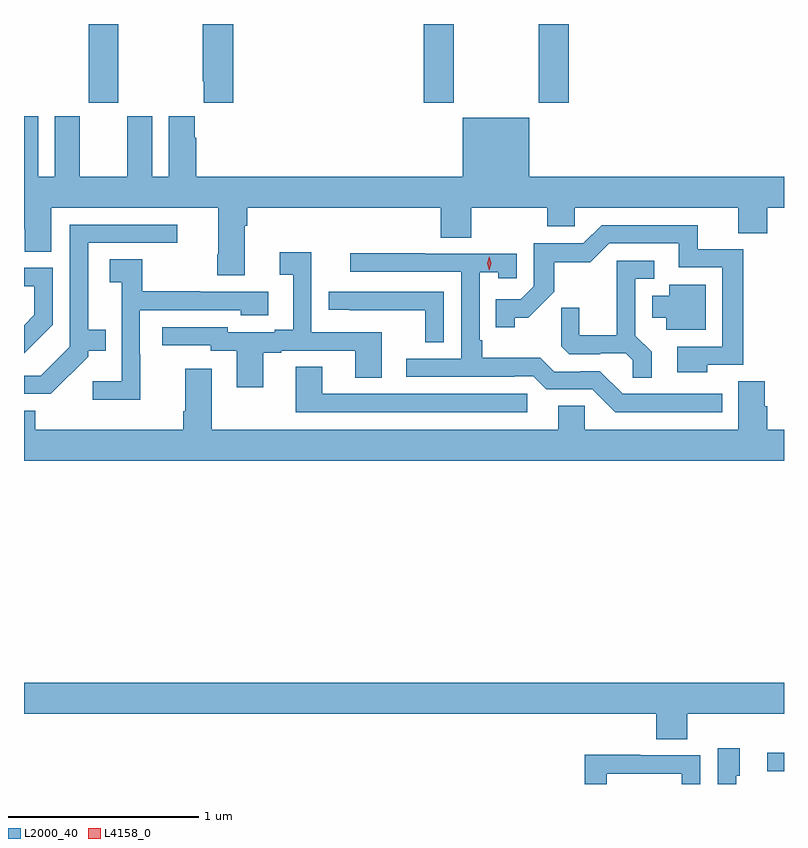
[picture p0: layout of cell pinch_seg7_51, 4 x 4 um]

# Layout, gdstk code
import gdstk
lib = gdstk.Library(unit=1e-6, precision=1e-09)
def R(c, l, rs):  # rectangles x0, y0, x1, y1
    for r in rs: c.add(gdstk.rectangle(r[:2], r[2:], *l))
def P(c, l, *ps):  # polygons
    for p in ps: c.add(gdstk.Polygon(p, *l))
L2000_40 = (2000, 40)
L4158_0 = (4158, 0)

pinch_seg7_51 = lib.new_cell('pinch_seg7_51')
R(pinch_seg7_51, L2000_40, [(902.451,1040.274,902.538,1040.372), (898.879,1043.793,899.034,1044.207), (900.641,1043.793,900.801,1044.207), (901.246,1043.793,901.406,1044.207)])
P(pinch_seg7_51, L2000_40, [(899.639,1044.207),(899.479,1044.207),(899.479,1043.905),(899.483,1043.905),(899.483,1043.793),(899.639,1043.793)],
  [(899.701,1043.144),(899.714,1043.144),(899.714,1043.24),(900.731,1043.24),(900.731,1043.083),(900.891,1043.083),(900.891,1043.24),(901.291,1043.24),(901.291,1043.142),(901.437,1043.142),(901.437,1043.24),(902.297,1043.24),(902.297,1043.107),(902.45,1043.107),(902.45,1043.24),(902.538,1043.24),(902.538,1043.404),(901.198,1043.404),(901.198,1043.713),(900.848,1043.713),(900.848,1043.404),(899.444,1043.404),(899.444,1043.609),(899.437,1043.609),(899.437,1043.722),(899.3,1043.722),(899.3,1043.404),(899.212,1043.404),(899.212,1043.722),(899.081,1043.722),(899.081,1043.404),(898.831,1043.404),(898.831,1043.722),(898.7,1043.722),(898.7,1043.404),(898.612,1043.404),(898.612,1043.722),(898.538,1043.722),(898.538,1043.13),(898.543,1043.13),(898.543,1043.008),(898.681,1043.008),(898.681,1043.24),(899.561,1043.24),(899.561,1042.996),(899.554,1042.996),(899.554,1042.884),(899.701,1042.884)],
  [(898.875,1042.455),(898.875,1042.487),(898.967,1042.487),(898.967,1042.597),(898.876,1042.597),(898.876,1043.055),(899.344,1043.055),(899.344,1043.151),(898.779,1043.151),(898.779,1042.509),(898.626,1042.356),(898.538,1042.356),(898.538,1042.26),(898.68,1042.26)],
  [(902.133,1042.413),(902.323,1042.413),(902.323,1043.022),(902.084,1043.022),(902.084,1043.148),(901.578,1043.148),(901.482,1043.052),(901.221,1043.052),(901.221,1042.827),(901.152,1042.758),(901.021,1042.758),(901.021,1042.611),(901.122,1042.611),(901.122,1042.661),(901.192,1042.661),(901.33,1042.798),(901.33,1042.954),(901.519,1042.954),(901.617,1043.052),(901.985,1043.052),(901.985,1042.926),(902.214,1042.926),(902.214,1042.509),(901.977,1042.509),(901.977,1042.373),(902.133,1042.373)],
  [(899.797,1042.476),(899.893,1042.476),(899.893,1042.488),(900.281,1042.488),(900.281,1042.345),(900.421,1042.345),(900.421,1042.584),(900.051,1042.584),(900.051,1043.007),(899.883,1043.007),(899.883,1042.888),(899.954,1042.888),(899.954,1042.597),(899.858,1042.597),(899.858,1042.584),(899.61,1042.584),(899.61,1042.611),(899.265,1042.611),(899.265,1042.515),(899.52,1042.515),(899.52,1042.488),(899.657,1042.488),(899.657,1042.296),(899.797,1042.296)],
  [(902.212,1042.26),(901.689,1042.26),(901.569,1042.38),(901.468,1042.38),(901.468,1042.377),(901.329,1042.377),(901.256,1042.45),(900.949,1042.45),(900.949,1042.543),(900.936,1042.543),(900.936,1042.901),(901.035,1042.901),(901.035,1042.869),(901.131,1042.869),(901.131,1042.998),(900.647,1042.998),(900.647,1043.001),(900.255,1043.001),(900.255,1042.902),(900.84,1042.902),(900.84,1042.446),(900.549,1042.446),(900.549,1042.35),(901.118,1042.35),(901.118,1042.353),(901.218,1042.353),(901.287,1042.284),(901.53,1042.284),(901.65,1042.164),(902.212,1042.164)],
  [(899.151,1042.469),(899.148,1042.469),(899.148,1042.701),(899.679,1042.701),(899.679,1042.673),(899.824,1042.673),(899.824,1042.797),(899.465,1042.797),(899.465,1042.8),(899.161,1042.8),(899.161,1042.97),(898.989,1042.97),(898.989,1042.849),(899.052,1042.849),(899.052,1042.327),(898.899,1042.327),(898.899,1042.229),(899.151,1042.229)],
  [(901.841,1042.481),(901.755,1042.567),(901.755,1042.866),(901.855,1042.866),(901.855,1042.962),(901.658,1042.962),(901.658,1042.57),(901.46,1042.57),(901.46,1042.713),(901.366,1042.713),(901.366,1042.511),(901.407,1042.47),(901.572,1042.47),(901.572,1042.473),(901.706,1042.473),(901.743,1042.436),(901.743,1042.345),(901.841,1042.345)],
  [(898.689,1042.625),(898.689,1042.923),(898.538,1042.923),(898.538,1042.826),(898.592,1042.826),(898.592,1042.676),(898.538,1042.622),(898.538,1042.474)],
  [(902.125,1042.834),(901.934,1042.834),(901.934,1042.777),(901.844,1042.777),(901.844,1042.661),(901.919,1042.661),(901.919,1042.598),(902.125,1042.598)],
  [(900.747,1042.797),(900.141,1042.797),(900.141,1042.702),(900.253,1042.702),(900.253,1042.701),(900.649,1042.701),(900.649,1042.531),(900.747,1042.531)],
  [(901.186,1042.26),(900.109,1042.26),(900.109,1042.403),(899.969,1042.403),(899.969,1042.164),(901.186,1042.164)],
  [(902.538,1042.072),(902.45,1042.072),(902.45,1042.194),(902.437,1042.194),(902.437,1042.328),(902.297,1042.328),(902.297,1042.072),(901.488,1042.072),(901.488,1042.199),(901.349,1042.199),(901.349,1042.072),(899.527,1042.072),(899.527,1042.393),(899.387,1042.393),(899.387,1042.168),(899.375,1042.168),(899.375,1042.072),(898.598,1042.072),(898.598,1042.171),(898.538,1042.171),(898.538,1041.908),(902.538,1041.908)],
  [(902.03,1040.576),(902.538,1040.576),(902.538,1040.74),(898.538,1040.74),(898.538,1040.576),(901.865,1040.576),(901.865,1040.443),(902.03,1040.443)],
  [(902.286,1040.25),(902.305,1040.25),(902.305,1040.395),(902.19,1040.395),(902.19,1040.207),(902.286,1040.207)],
  [(901.605,1040.262),(902.001,1040.262),(902.001,1040.207),(902.097,1040.207),(902.097,1040.358),(901.781,1040.358),(901.781,1040.36),(901.489,1040.36),(901.489,1040.207),(901.605,1040.207)])
P(pinch_seg7_51, L4158_0, [(900.986,1042.911),(900.986,1042.911),(900.976,1042.947),(900.986,1042.982),(900.986,1042.982),(900.987,1042.982),(900.996,1042.947),(900.987,1042.911)])

lib.write_gds('pinch_seg7_51.gds')
